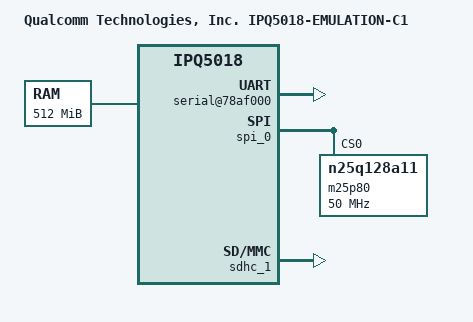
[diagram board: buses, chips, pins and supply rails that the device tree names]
/dts-v1/;
/* Copyright (c) 2018-2019, The Linux Foundation. All rights reserved.
 *
 * Permission to use, copy, modify, and/or distribute this software for any
 * purpose with or without fee is hereby granted, provided that the above
 * copyright notice and this permission notice appear in all copies.
 *
 * THE SOFTWARE IS PROVIDED "AS IS" AND THE AUTHOR DISCLAIMS ALL WARRANTIES
 * WITH REGARD TO THIS SOFTWARE INCLUDING ALL IMPLIED WARRANTIES OF
 * MERCHANTABILITY AND FITNESS. IN NO EVENT SHALL THE AUTHOR BE LIABLE FOR
 * ANY SPECIAL, DIRECT, INDIRECT, OR CONSEQUENTIAL DAMAGES OR ANY DAMAGES
 * WHATSOEVER RESULTING FROM LOSS OF USE, DATA OR PROFITS, WHETHER IN AN
 * ACTION OF CONTRACT, NEGLIGENCE OR OTHER TORTIOUS ACTION, ARISING OUT OF
 * OR IN CONNECTION WITH THE USE OR PERFORMANCE OF THIS SOFTWARE.
 */

#include "qcom-ipq5018.dtsi"

/ {
	#address-cells = <0x2>;
	#size-cells = <0x2>;
	model = "Qualcomm Technologies, Inc. IPQ5018-EMULATION-C1";
	compatible = "qcom,ipq5018-emulation-c2", "qcom,ipq5018";
	interrupt-parent = <&intc>;

	aliases {
		sdhc1 = &sdhc_1; /* SDC1 eMMC slot */
		serial0 = &blsp1_uart1;
	};

	chosen {
		linux,initrd-end = <0x46000000>;
		linux,initrd-start = <0x44000000>;
		bootargs = "root=/dev/ram0 rw init=/init";
		stdout-path = "serial0";
	};

	memory {
		device_type = "memory";
		reg = <0x0 0x40000000 0x0 0x20000000>;
	};

	soc {
		serial@78af000 {
			status = "ok";
		};

		timer {
			clock-frequency = <240000>;
		};

		spi_0: spi@78b5000 { /* BLSP1 QUP0 */
			status = "ok";

			m25p80@0 {
				#address-cells = <1>;
				#size-cells = <1>;
				reg = <0>;
				compatible = "n25q128a11";
				linux,modalias = "m25p80", "n25q128a11";
				spi-max-frequency = <50000000>;
				use-default-sizes;
			};
		};

		ess-switch@0x39c00000 {
			compatible = "qcom,ess-switch-ipq50xx";
			reg = <0x39c00000 0x200000>;
			switch_access_mode = "local bus";
			qcom,port_phyinfo {
				port@0 {
					port_id = <1>;
					phy_address = <7>;
				};
				port@1 {
					port_id = <2>;
					phy_address = <1>;
				};
			};
		};
	};
};

&sdhc_1 {
	qcom,clk-rates = <400000 25000000 50000000 100000000 \
			 192000000 384000000>;
	qcom,bus-speed-mode = "DDR_1p8v";
	qcom,nonremovable;
	qcom,emulation = <1>;
	status = "ok";
};

&tlmm {
	pinctrl-0 = <&uart_pins>;
	pinctrl-names = "default";

	uart_pins: uart_pins {
		mux_0 {
			pins = "gpio20", "gpio21";
			function = "blsp0_uart0";
			bias-pull-down;
		};
		mux_1 {
			pins = "gpio10";
			function = "blsp1_uart0";
			bias-pull-down;
                };
		mux_2 {
			pins = "gpio11", "gpio12";
			function = "blsp1_uart0";
			bias-pull-down;
                };
		mux_3 {
			pins = "gpio13";
			function = "blsp1_uart0";
			bias-pull-down;
		};
	};
};
